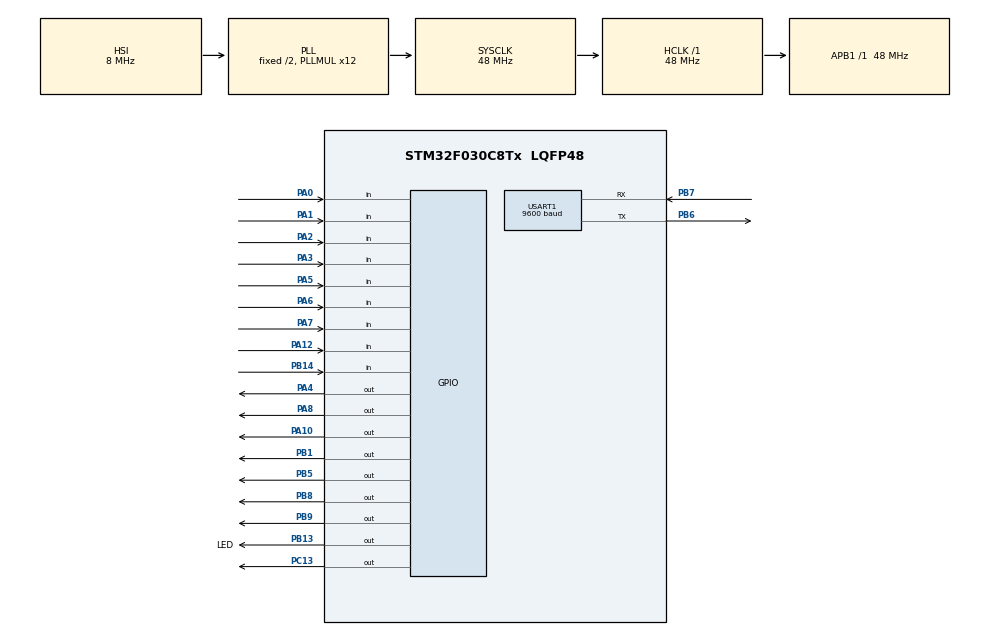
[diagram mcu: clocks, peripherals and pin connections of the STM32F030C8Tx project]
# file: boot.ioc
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Mcu.Family=STM32F0
Mcu.Name=STM32F030C8Tx
Mcu.Package=LQFP48
NVIC.USART1_IRQn=true\:0\:0\:false\:false\:true\:true\:true\:true
PA0.Signal=GPIO_Input
PA1.Signal=GPIO_Input
PA10.GPIO_PuPd=GPIO_PULLUP
PA10.GPIO_Speed=GPIO_SPEED_FREQ_HIGH
PA10.PinState=GPIO_PIN_SET
PA10.Signal=GPIO_Output
PA12.Signal=GPIO_Input
PA2.Signal=GPIO_Input
PA3.Signal=GPIO_Input
PA4.Signal=GPIO_Output
PA5.Signal=GPIO_Input
PA6.Signal=GPIO_Input
PA7.Signal=GPIO_Input
PA8.PinState=GPIO_PIN_SET
PA8.Signal=GPIO_Output
PB1.PinState=GPIO_PIN_SET
PB1.Signal=GPIO_Output
PB13.GPIO_Label=LED
PB13.GPIO_PuPd=GPIO_PULLDOWN
PB13.GPIO_Speed=GPIO_SPEED_FREQ_HIGH
PB13.Signal=GPIO_Output
PB14.Signal=GPIO_Input
PB5.PinState=GPIO_PIN_SET
PB5.Signal=GPIO_Output
PB6.Mode=Asynchronous
PB6.Signal=USART1_TX
PB7.Mode=Asynchronous
PB7.Signal=USART1_RX
PB8.Signal=GPIO_Output
PB9.Signal=GPIO_Output
PC13.Signal=GPIO_Output
ProjectManager.HeapSize=0x200
ProjectManager.StackSize=0x400
ProjectManager.TargetToolchain=MDK-ARM V5.32
RCC.AHBFreq_Value=48000000
RCC.APB1Freq_Value=48000000
RCC.APB1TimFreq_Value=48000000
RCC.HCLKFreq_Value=48000000
RCC.PLLMUL=RCC_PLL_MUL12
RCC.SYSCLKFreq_VALUE=48000000
RCC.SYSCLKSource=RCC_SYSCLKSOURCE_PLLCLK
USART1.BaudRate=9600
USART1.DMADisableonRxErrorParam=ADVFEATURE_DMA_DISABLEONRXERROR
USART1.VirtualMode-Asynchronous=VM_ASYNC
board=custom

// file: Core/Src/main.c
/* USER CODE BEGIN Header */
/**
  ******************************************************************************
  * @file           : main.c
  * @brief          : Main program body
  ******************************************************************************
  * @attention
  *
  * Copyright (c) 2023 STMicroelectronics.
  * All rights reserved.
  *
  * This software is licensed under terms that can be found in the LICENSE file
  * in the root directory of this software component.
  * If no LICENSE file comes with this software, it is provided AS-IS.
  *
  ******************************************************************************
  */
/* USER CODE END Header */
#include "main.h"
#include "usart.h"
#include "gpio.h"

/* USER CODE BEGIN Includes */
#include "cl_event_system.h"
#include "systime.h"
#include "cl_log.h"
#include "helper.h"
#include "dfu.h"
#include "sog_ymodem.h"
#include "led.h"
#include "flash_layout.h"
/* USER CODE END Includes */

/* USER CODE BEGIN PV */
volatile bool jumpToApp = false;
/* USER CODE END PV */

void SystemClock_Config(void);

int main(void)
{

  /* USER CODE BEGIN 1 */
  volatile uint32_t* pVector = (volatile uint32_t*)0x20000000;
  for(uint32_t i = 0; i < 50; i++)
  {
    pVector[i] = ((volatile uint32_t*)FLASH_START_ADDR)[i];
  }
  LL_SYSCFG_SetRemapMemory(LL_SYSCFG_REMAP_SRAM);

  CL_EventSysInit();
  /* USER CODE END 1 */

  /* MCU Configuration--------------------------------------------------------*/

  /* Reset of all peripherals, Initializes the Flash interface and the Systick. */
  HAL_Init();

  /* Configure the system clock */
  SystemClock_Config();

  /* Initialize all configured peripherals */
  MX_GPIO_Init();
  MX_USART1_UART_Init();

  /* Infinite loop */
  /* USER CODE BEGIN WHILE */
  SogYmodem_Init();
  Led_Init();
  while (1)
  {
    /* USER CODE END WHILE */

    /* USER CODE BEGIN 3 */
    Led_Process();
    SogYmodem_Process();
    static uint32_t lastTime = 0;
    if(SysTimeSpan(lastTime) >= 1000)
    {
        lastTime = GetSysTime();
        // CL_LOG_INFO("boot: %us", GetSysTime() / 1000);
    }

    if(jumpToApp)
    {
      DelayOnSysTime(300);
      Usart_Exit(USART1);

      SysTick->CTRL = 0x00;
      JumpToApplication();
    }
  }
  /* USER CODE END 3 */
}

void SystemClock_Config(void)
{
  RCC_OscInitTypeDef RCC_OscInitStruct = {0};
  RCC_ClkInitTypeDef RCC_ClkInitStruct = {0};
  RCC_PeriphCLKInitTypeDef PeriphClkInit = {0};

  /** Initializes the RCC Oscillators according to the specified parameters
  * in the RCC_OscInitTypeDef structure.
  */
  RCC_OscInitStruct.OscillatorType = RCC_OSCILLATORTYPE_HSI;
  RCC_OscInitStruct.HSIState = RCC_HSI_ON;
  RCC_OscInitStruct.HSICalibrationValue = RCC_HSICALIBRATION_DEFAULT;
  RCC_OscInitStruct.PLL.PLLState = RCC_PLL_ON;
  RCC_OscInitStruct.PLL.PLLSource = RCC_PLLSOURCE_HSI;
  RCC_OscInitStruct.PLL.PLLMUL = RCC_PLL_MUL12;
  RCC_OscInitStruct.PLL.PREDIV = RCC_PREDIV_DIV1;
  if (HAL_RCC_OscConfig(&RCC_OscInitStruct) != HAL_OK)
  {
    Error_Handler();
  }

  /** Initializes the CPU, AHB and APB buses clocks
  */
  RCC_ClkInitStruct.ClockType = RCC_CLOCKTYPE_HCLK|RCC_CLOCKTYPE_SYSCLK
                              |RCC_CLOCKTYPE_PCLK1;
  RCC_ClkInitStruct.SYSCLKSource = RCC_SYSCLKSOURCE_PLLCLK;
  RCC_ClkInitStruct.AHBCLKDivider = RCC_SYSCLK_DIV1;
  RCC_ClkInitStruct.APB1CLKDivider = RCC_HCLK_DIV1;

  if (HAL_RCC_ClockConfig(&RCC_ClkInitStruct, FLASH_LATENCY_1) != HAL_OK)
  {
    Error_Handler();
  }
  PeriphClkInit.PeriphClockSelection = RCC_PERIPHCLK_USART1;
  PeriphClkInit.Usart1ClockSelection = RCC_USART1CLKSOURCE_PCLK1;
  if (HAL_RCCEx_PeriphCLKConfig(&PeriphClkInit) != HAL_OK)
  {
    Error_Handler();
  }
}

void Error_Handler(void)
{
  __disable_irq();
  while (1)
  {
  }
}
